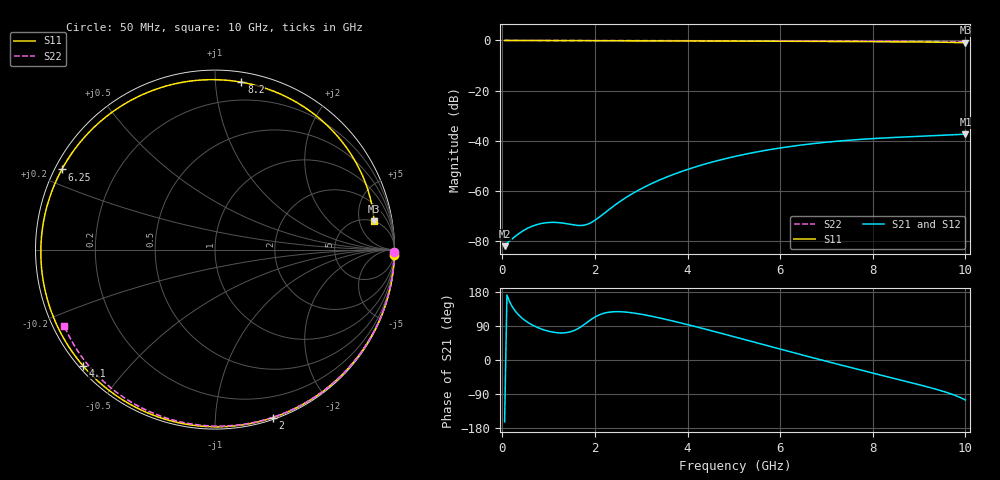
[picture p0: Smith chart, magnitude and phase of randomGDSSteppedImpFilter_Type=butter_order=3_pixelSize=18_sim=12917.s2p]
! freq	dB(S11)	phase(S11)	dB(S12)	phase(S12)
!  dB(S21)	phase(S21)	dB(S22)	phase(S22)
!S-par simulation data
#  GHz  S  DB  R 50
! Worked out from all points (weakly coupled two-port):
!   200 points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, 50 MHz to 10 GHz, reference 50 ohm
!   highest |S21| = -37.40 dB at 10 GHz (marker M1); lowest = -82.1 dB at 50 MHz (marker M2)
!   lowest |S11| = -0.9 dB at 10 GHz (marker M3), VSWR 19.11, Z = 251 + j418 ohm
!   |S11| at or under -10 dB: nowhere
!   |S22| runs from -0.5 to 0.0 dB; largest |S21 - S12| = 0
!   S11 on the Smith chart (normalised r, x): 50 MHz: 0, -62; 2 GHz: 0.01, -1.40; 4.1 GHz: 0.01, -0.38; 6.25 GHz: 0.02, +0.25; 8.2 GHz: 0.07, +1.17; 10 GHz: 5.02, +8.36
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0.05  -0.00 -1.8  -82.08 -163.3  -82.08 -163.3  -0.00 -0.9
0.15  -0.00 -5.5  -80.09 155.9  -80.09 155.9  -0.00 -2.6
0.5  -0.02 -18.3  -75.39 103.5  -75.39 103.5  -0.01 -8.7
0.85  -0.03 -30.9  -73.01 81.5  -73.01 81.5  -0.02 -14.8
1.15  -0.05 -41.6  -72.60 72.4  -72.60 72.4  -0.02 -19.9
1.75  -0.08 -62.5  -73.74 92.0  -73.74 92.0  -0.04 -30.1
2  -0.09 -71.0  -71.75 113.3  -71.75 113.3  -0.04 -34.3
2.7  -0.12 -94.2  -62.32 126.1  -62.32 126.1  -0.06 -45.9
3.4  -0.15 -116.7  -55.64 110.9  -55.64 110.9  -0.08 -57.2
4.1  -0.18 -138.7  -50.87 90.3  -50.87 90.3  -0.09 -68.2
4.6  -0.21 -154.3  -48.19 74.5  -48.19 74.5  -0.11 -75.8
5.05  -0.24 -168.5  -46.17 59.9  -46.17 59.9  -0.13 -82.6
5.65  -0.28 172.3  -43.96 40.3  -43.96 40.3  -0.15 -91.4
6.25  -0.33 152.4  -42.23 20.6  -42.23 20.6  -0.18 -100.1
6.7  -0.36 136.8  -41.18 6.1  -41.18 6.1  -0.21 -106.5
7.5  -0.43 107.8  -39.79 -19.1  -39.79 -19.1  -0.26 -117.7
8.2  -0.50 81.0  -38.95 -40.6  -38.95 -40.6  -0.32 -127.5
8.35  -0.51 75.2  -38.81 -45.1  -38.81 -45.1  -0.33 -129.5
8.8  -0.57 57.5  -38.42 -58.9  -38.42 -58.9  -0.38 -135.8
9.25  -0.65 39.7  -38.06 -73.2  -38.06 -73.2  -0.43 -142.2
9.65  -0.75 23.9  -37.71 -87.9  -37.71 -87.9  -0.48 -148.0
10  -0.91 10.1  -37.40 -105.4  -37.40 -105.4  -0.52 -153.1
